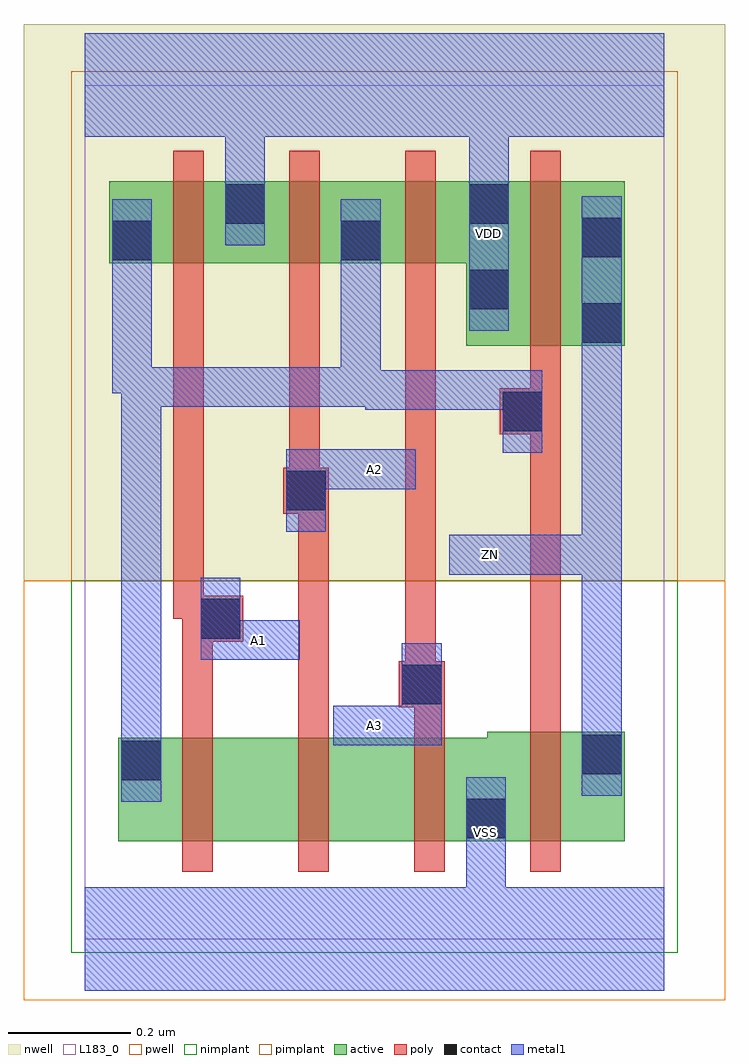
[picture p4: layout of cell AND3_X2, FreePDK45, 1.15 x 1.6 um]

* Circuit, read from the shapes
.subckt AND3_X2 A1 A2 A3 VDD VSS ZN
M1 n1 A1 n2 VSUBS nfet w=0.17u l=0.05u
M2 n3 A2 n1 VSUBS nfet w=0.17u l=0.05u
M3 VSS A3 n3 VSUBS nfet w=0.17u l=0.05u
M4 ZN n2 VSS VSUBS nfet w=0.18u l=0.05u
M5 VDD A1 n2 n4 pfet w=0.135u l=0.05u
M6 n2 A2 VDD n4 pfet w=0.135u l=0.05u
M7 VDD A3 n2 n4 pfet w=0.135u l=0.05u
M8 ZN n2 VDD n4 pfet w=0.27u l=0.05u
.ends

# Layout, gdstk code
import gdstk
lib = gdstk.Library(unit=1e-6, precision=1e-10)
def R(c, l, rs):  # rectangles x0, y0, x1, y1
    for r in rs: c.add(gdstk.rectangle(r[:2], r[2:], *l))
def P(c, l, *ps):  # polygons
    for p in ps: c.add(gdstk.Polygon(p, *l))
active = (1, 0)
pwell = (2, 0)
nwell = (3, 0)
nimplant = (4, 0)
pimplant = (5, 0)
poly = (9, 0)
contact = (10, 0)
metal1 = (11, 0)
L183_0 = (183, 0)

and3_x2 = lib.new_cell('AND3_X2')
P(and3_x2, active, [(0.055,0.16),(0.16,0.16),(0.21,0.16),(0.35,0.16),(0.4,0.16),(0.54,0.16),(0.59,0.16),(0.73,0.16),(0.78,0.16),(0.885,0.16),(0.885,0.34),(0.78,0.34),(0.73,0.34),(0.66,0.34),(0.66,0.33),(0.59,0.33),(0.54,0.33),(0.4,0.33),(0.35,0.33),(0.21,0.33),(0.16,0.33),(0.055,0.33)],
  [(0.04,1.1075),(0.145,1.1075),(0.195,1.1075),(0.335,1.1075),(0.385,1.1075),(0.525,1.1075),(0.575,1.1075),(0.625,1.1075),(0.625,0.9725),(0.73,0.9725),(0.78,0.9725),(0.885,0.9725),(0.885,1.2425),(0.78,1.2425),(0.73,1.2425),(0.575,1.2425),(0.525,1.2425),(0.385,1.2425),(0.335,1.2425),(0.195,1.2425),(0.145,1.2425),(0.04,1.2425)])
P(and3_x2, pwell, [(-0.1,-0.1),(1.05,-0.1),(1.05,0.5875),(0.85,0.5875),(0.1,0.5875),(-0.1,0.5875)])
P(and3_x2, nwell, [(-0.1,0.5875),(0.1,0.5875),(0.85,0.5875),(1.05,0.5875),(1.05,1.5),(-0.1,1.5)])
R(and3_x2, nimplant, [(-0.0225,-0.0225,0.9725,0.5875)])
R(and3_x2, pimplant, [(-0.0225,0.5875,0.9725,1.4225)])
P(and3_x2, poly, [(0.145,0.525),(0.16,0.525),(0.16,0.33),(0.16,0.16),(0.16,0.11),(0.21,0.11),(0.21,0.16),(0.21,0.33),(0.21,0.4875),(0.26,0.4875),(0.26,0.5625),(0.195,0.5625),(0.195,1.1075),(0.195,1.2425),(0.195,1.2925),(0.145,1.2925),(0.145,1.2425),(0.145,1.1075)],
  [(0.325,0.6975),(0.35,0.6975),(0.35,0.33),(0.35,0.16),(0.35,0.11),(0.4,0.11),(0.4,0.16),(0.4,0.33),(0.4,0.7725),(0.385,0.7725),(0.385,1.1075),(0.385,1.2425),(0.385,1.2925),(0.335,1.2925),(0.335,1.2425),(0.335,1.1075),(0.335,0.7725),(0.325,0.7725)],
  [(0.515,0.38),(0.54,0.38),(0.54,0.33),(0.54,0.16),(0.54,0.11),(0.59,0.11),(0.59,0.16),(0.59,0.33),(0.59,0.455),(0.575,0.455),(0.575,1.1075),(0.575,1.2425),(0.575,1.2925),(0.525,1.2925),(0.525,1.2425),(0.525,1.1075),(0.525,0.455),(0.515,0.455)],
  [(0.68,0.8275),(0.73,0.8275),(0.73,0.34),(0.73,0.16),(0.73,0.11),(0.78,0.11),(0.78,0.16),(0.78,0.34),(0.78,0.9725),(0.78,1.2425),(0.78,1.2925),(0.73,1.2925),(0.73,1.2425),(0.73,0.9725),(0.73,0.9025),(0.68,0.9025)])
R(and3_x2, contact, [(0.625,0.165,0.69,0.23), (0.06,0.26,0.125,0.325), (0.815,0.27,0.88,0.335), (0.52,0.385,0.585,0.45), (0.19,0.4925,0.255,0.5575), (0.33,0.7025,0.395,0.7675), (0.685,0.8325,0.75,0.8975), (0.815,0.9775,0.88,1.0425), (0.63,1.0325,0.695,1.0975), (0.045,1.1125,0.11,1.1775), (0.42,1.1125,0.485,1.1775), (0.815,1.1175,0.88,1.1825), (0.23,1.1725,0.295,1.2375), (0.63,1.1725,0.695,1.2375)])
P(and3_x2, metal1, [(0.045,0.895),(0.06,0.895),(0.06,0.225),(0.125,0.225),(0.125,0.8725),(0.46,0.8725),(0.46,0.8675),(0.685,0.8675),(0.685,0.7975),(0.75,0.7975),(0.75,0.9325),(0.485,0.9325),(0.485,1.2125),(0.42,1.2125),(0.42,0.9375),(0.11,0.9375),(0.11,1.2125),(0.045,1.2125)],
  [(0.5975,0.5975),(0.815,0.5975),(0.815,0.235),(0.88,0.235),(0.88,1.2175),(0.815,1.2175),(0.815,0.6625),(0.5975,0.6625)],
  [(0,-0.085),(0.95,-0.085),(0.95,0.085),(0.69,0.085),(0.69,0.265),(0.625,0.265),(0.625,0.085),(0,0.085)],
  [(0,1.315),(0.23,1.315),(0.23,1.1375),(0.295,1.1375),(0.295,1.315),(0.63,1.315),(0.63,0.9975),(0.695,0.9975),(0.695,1.315),(0.95,1.315),(0.95,1.485),(0,1.485)],
  [(0.19,0.4575),(0.3525,0.4575),(0.3525,0.5225),(0.255,0.5225),(0.255,0.5925),(0.19,0.5925)],
  [(0.33,0.6675),(0.395,0.6675),(0.395,0.7375),(0.5425,0.7375),(0.5425,0.8025),(0.33,0.8025)],
  [(0.4075,0.3175),(0.585,0.3175),(0.585,0.485),(0.52,0.485),(0.52,0.3825),(0.4075,0.3825)])
R(and3_x2, L183_0, [(0,0,0.95,1.4)])
and3_x2.add(gdstk.Label('A1', (0.285,0.49), layer=11, texttype=0))
and3_x2.add(gdstk.Label('A2', (0.475,0.77), layer=11, texttype=0))
and3_x2.add(gdstk.Label('A3', (0.475,0.35), layer=11, texttype=0))
and3_x2.add(gdstk.Label('VDD', (0.6625,1.1562), layer=11, texttype=0))
and3_x2.add(gdstk.Label('VSS', (0.6575,0.175), layer=11, texttype=0))
and3_x2.add(gdstk.Label('ZN', (0.665,0.63), layer=11, texttype=0))

lib.write_gds('AND3_X2.gds')
